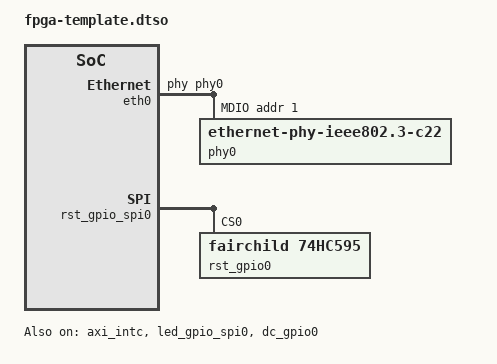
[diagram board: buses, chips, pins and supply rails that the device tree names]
#include <dt-bindings/gpio/gpio.h>

#define ENABLE_DISPLAYS

/dts-v1/;
/plugin/;

/ {
	fragment@0 {
		target = <&fpga_full>;
		__overlay__ {
			status = "okay";
			firmware-name = "fpga.bin";
		};
	};

	/* AXI interrupt controller */
	fragment@1 {
		target = <&amba>;
		__overlay__ {
			axi_intc: interrupt-controller@41800000 {
				compatible = "xlnx,axi-intc-4.1", "xlnx,xps-intc-1.00.a";
				reg = <0x41800000 0x10000>;
				status = "okay";
				interrupt-parent = <&intc>;
				interrupts = <0 29 1>;
				#interrupt-cells = <2>;
				interrupt-controller;
				xlnx,kind-of-intr = <0x3FFF>;
				xlnx,num-intr-inputs = <14>;
			};
		};
	};

	/* SBC Ethernet */
	fragment@2 {
		target = <&amba>;
		__overlay__ {
			eth0: ethernet@40e00000 {
				compatible = "xlnx,axi-ethernetlite-3.0", "xlnx,xps-ethernetlite-1.00.a";
				reg = <0x40e00000 0x10000>;
				status = "okay";
				device_type = "network";
				local-mac-address = [00 0a 35 00 00 00];
				phy-handle = <&phy0>;
			 	xlnx,rx-ping-pong = <0x1>;
				xlnx,tx-ping-pong = <0x1>;
				interrupt-parent = <&intc>;
		        interrupts = <0 30 1>;
				mdio {
					#address-cells = <1>;
					#size-cells = <0>;
					phy0: phy@7 {
						compatible = "ethernet-phy-ieee802.3-c22";
						device_type = "ethernet-phy";
						reg = <1>;
					};
				};
			};
		};
	};

	/* SPI for 595 shift registers that drive RST gpios */
	fragment@3 {
 		target = <&amba>;
 		__overlay__ {
			rst_gpio_spi0: rst_gpio_spi@41df0000 {
				compatible = "xlnx,axi-quad-spi-3.2", "xlnx,xps-spi-2.00.a";
				reg = <0x41df0000 0x10000>;
				status = "okay";
				interrupt-parent = <&intc>;
				interrupts = <0 31 1>;
				bits-per-word = <8>;
				fifo-size = <16>;
				num-cs = <1>;

				rst_gpio0: rst_gpio@0 {
					compatible = "fairchild,74hc595";
					reg = <0>;
					#gpio-cells = <2>;
					gpio-controller;
					registers-number = <3>;
					status = "okay";
				};
			};
		};
	};

	/* SPI for 595 shift registers that drive LED gpios */
	fragment@4 {
		target = <&amba>;
		__overlay__ {
			led_gpio_spi0: led_gpio_spi@41de0000 {
				compatible = "xlnx,axi-quad-spi-3.2", "xlnx,xps-spi-2.00.a";
				reg = <0x41de0000 0x10000>;
				status = "okay";
				interrupt-parent = <&intc>;
				interrupts = <0 32 1>;
				bits-per-word = <8>;
				fifo-size = <16>;
				num-cs = <1>;

				led_gpio0: led_gpio@0 {
					compatible = "fairchild,74hc595";
					reg = <0>;
					#gpio-cells = <2>;
					gpio-controller;
					registers-number = <3>;
					status = "okay";
				};
			};
		};
	};

	/* AXI GPIO that directly drives DC gpios */
	fragment@5 {
 		target = <&amba>;
 		__overlay__ {
			dc_gpio0: gpio@41200000 {
				compatible = "xlnx,xps-gpio-1.00.a";
				reg = <0x41200000 0x10000>;
				#gpio-cells = <2>;
				gpio-controller;
				xlnx,gpio-width = <16>;
				status = "okay";
 			};
 		};
 	};

/* Displays */
#ifdef ENABLE_DISPLAYS
#START_INTERRUPT_CNT 0
#INSERT_DISPLAY 0
#INSERT_DISPLAY 1
#INSERT_DISPLAY 2
#INSERT_DISPLAY 3
#INSERT_DISPLAY 4
#INSERT_DISPLAY 5
#INSERT_DISPLAY 6
#INSERT_DISPLAY 7
#INSERT_DISPLAY 8
#INSERT_DISPLAY 9
#INSERT_DISPLAY A
#INSERT_DISPLAY B
#INSERT_DISPLAY C
#INSERT_DISPLAY D
#endif
};
